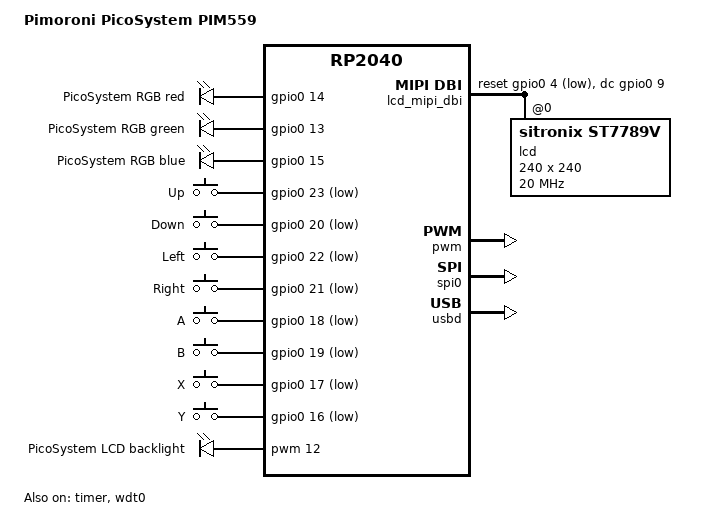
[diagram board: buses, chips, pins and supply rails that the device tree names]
/*
 * Copyright (c) 2026 PicoSystem Playground contributors
 *
 * SPDX-License-Identifier: Apache-2.0
 */

/dts-v1/;

#include <raspberrypi/rpi_pico/rp2040.dtsi>
#include <zephyr/dt-bindings/gpio/gpio.h>
#include <zephyr/dt-bindings/input/input-event-codes.h>
#include <zephyr/dt-bindings/mipi_dbi/mipi_dbi.h>
#include <zephyr/dt-bindings/pwm/pwm.h>
#include "picosystem-pinctrl.dtsi"

/ {
	model = "Pimoroni PicoSystem PIM559";
	compatible = "pimoroni,picosystem";

	chosen {
		zephyr,sram = &sram0;
		zephyr,flash = &flash0;
		zephyr,flash-controller = &ssi;
		zephyr,code-partition = &code_partition;
		zephyr,display = &lcd;
	};

	aliases {
		led0 = &led_blue;
		sw0 = &button_x;
		watchdog0 = &wdt0;
	};

	leds {
		compatible = "gpio-leds";

		led_red: led_red {
			gpios = <&gpio0 14 GPIO_ACTIVE_HIGH>;
			label = "PicoSystem RGB red";
		};

		led_green: led_green {
			gpios = <&gpio0 13 GPIO_ACTIVE_HIGH>;
			label = "PicoSystem RGB green";
		};

		led_blue: led_blue {
			gpios = <&gpio0 15 GPIO_ACTIVE_HIGH>;
			label = "PicoSystem RGB blue";
		};
	};

	buttons {
		compatible = "gpio-keys";

		button_up: button_up {
			gpios = <&gpio0 23 (GPIO_PULL_UP | GPIO_ACTIVE_LOW)>;
			label = "Up";
			zephyr,code = <INPUT_KEY_UP>;
		};

		button_down: button_down {
			gpios = <&gpio0 20 (GPIO_PULL_UP | GPIO_ACTIVE_LOW)>;
			label = "Down";
			zephyr,code = <INPUT_KEY_DOWN>;
		};

		button_left: button_left {
			gpios = <&gpio0 22 (GPIO_PULL_UP | GPIO_ACTIVE_LOW)>;
			label = "Left";
			zephyr,code = <INPUT_KEY_LEFT>;
		};

		button_right: button_right {
			gpios = <&gpio0 21 (GPIO_PULL_UP | GPIO_ACTIVE_LOW)>;
			label = "Right";
			zephyr,code = <INPUT_KEY_RIGHT>;
		};

		button_a: button_a {
			gpios = <&gpio0 18 (GPIO_PULL_UP | GPIO_ACTIVE_LOW)>;
			label = "A";
			zephyr,code = <INPUT_KEY_A>;
		};

		button_b: button_b {
			gpios = <&gpio0 19 (GPIO_PULL_UP | GPIO_ACTIVE_LOW)>;
			label = "B";
			zephyr,code = <INPUT_KEY_B>;
		};

		button_x: button_x {
			gpios = <&gpio0 17 (GPIO_PULL_UP | GPIO_ACTIVE_LOW)>;
			label = "X";
			zephyr,code = <INPUT_KEY_X>;
		};

		button_y: button_y {
			gpios = <&gpio0 16 (GPIO_PULL_UP | GPIO_ACTIVE_LOW)>;
			label = "Y";
			zephyr,code = <INPUT_KEY_Y>;
		};
	};

	pwm_leds {
		compatible = "pwm-leds";

		lcd_backlight: lcd-backlight {
			pwms = <&pwm 12 PWM_USEC(50) PWM_POLARITY_NORMAL>;
			label = "PicoSystem LCD backlight";
		};
	};

	lcd_mipi_dbi: mipi-dbi {
		compatible = "zephyr,mipi-dbi-spi";
		spi-dev = <&spi0>;
		dc-gpios = <&gpio0 9 GPIO_ACTIVE_HIGH>;
		reset-gpios = <&gpio0 4 GPIO_ACTIVE_LOW>;
		write-only;
		#address-cells = <1>;
		#size-cells = <0>;
		status = "okay";

		lcd: st7789v@0 {
			compatible = "sitronix,st7789v";
			reg = <0>;
			mipi-max-frequency = <20000000>;
			width = <240>;
			height = <240>;
			x-offset = <0>;
			y-offset = <0>;
			vcom = <0x25>;
			gctrl = <0x14>;
			vrhs = <0x12>;
			vdvs = <0x20>;
			mdac = <0x04>;
			gamma = <0x01>;
			colmod = <0x05>;
			lcm = <0x2c>;
			porch-param = [0c 0c 00 33 33];
			cmd2en-param = [5a 69 02 01];
			pwctrl1-param = [a4 a1];
			pvgam-param = [d0 04 0d 11 13 2b 3f 54 4c 18 0d 0b 1f 23];
			nvgam-param = [d0 04 0c 11 13 2c 3f 44 51 2f 1f 1f 20 23];
			ram-param = [00 f0];
			rgb-param = [cd 08 14];
			mipi-mode = "MIPI_DBI_MODE_SPI_4WIRE";
			status = "okay";
		};
	};
};

&flash0 {
	reg = <0x10000000 DT_SIZE_M(16)>;
	ranges = <0x0 0x10000000 DT_SIZE_M(16)>;

	partitions {
		compatible = "fixed-partitions";
		#address-cells = <1>;
		#size-cells = <1>;

		second_stage_bootloader: partition@0 {
			label = "second_stage_bootloader";
			reg = <0x00000000 0x100>;
			read-only;
		};

		code_partition: partition@100 {
			label = "code-partition";
			reg = <0x100 (DT_SIZE_M(16) - 0x100)>;
			read-only;
		};
	};
};

&gpio0 {
	status = "okay";
};

&pwm {
	pinctrl-0 = <&picosystem_backlight_pwm_default>;
	pinctrl-names = "default";
	status = "okay";
};

&spi0 {
	pinctrl-0 = <&picosystem_spi0_default>;
	pinctrl-names = "default";
	cs-gpios = <&gpio0 5 GPIO_ACTIVE_LOW>;
	status = "okay";
};

&timer {
	status = "okay";
};

&wdt0 {
	status = "okay";
};

zephyr_udc0: &usbd {
	status = "okay";
};

&vreg {
	regulator-always-on;
	regulator-allowed-modes = <REGULATOR_RPI_PICO_MODE_NORMAL>;
};

#include <../boards/common/usb/cdc_acm_serial.dtsi>
